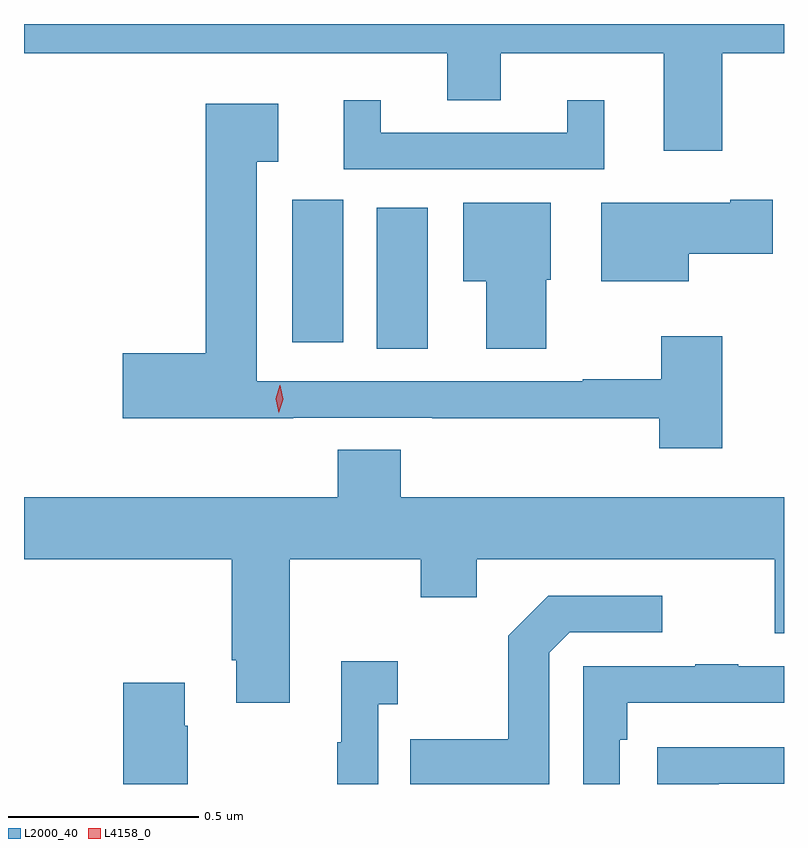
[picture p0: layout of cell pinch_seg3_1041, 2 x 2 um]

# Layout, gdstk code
import gdstk
lib = gdstk.Library(unit=1e-6, precision=1e-09)
def R(c, l, rs):  # rectangles x0, y0, x1, y1
    for r in rs: c.add(gdstk.rectangle(r[:2], r[2:], *l))
def P(c, l, *ps):  # polygons
    for p in ps: c.add(gdstk.Polygon(p, *l))
L2000_40 = (2000, 40)
L4158_0 = (4158, 0)

pinch_seg3_1041 = lib.new_cell('pinch_seg3_1041')
R(pinch_seg3_1041, L2000_40, [(616.016,669.502,616.15,669.874), (615.794,669.519,615.928,669.894)])
P(pinch_seg3_1041, L2000_40, [(616.925,670.28),(617.088,670.28),(617.088,670.357),(615.088,670.357),(615.088,670.28),(616.202,670.28),(616.202,670.156),(616.342,670.156),(616.342,670.28),(616.772,670.28),(616.772,670.023),(616.925,670.023)],
  [(616.615,670.156),(616.517,670.156),(616.517,670.071),(616.027,670.071),(616.027,670.156),(615.929,670.156),(615.929,669.975),(616.615,669.975)],
  [(616.925,669.535),(616.765,669.535),(616.765,669.422),(616.558,669.422),(616.558,669.417),(615.7,669.417),(615.7,669.995),(615.757,669.995),(615.757,670.147),(615.566,670.147),(615.566,669.491),(615.348,669.491),(615.348,669.32),(615.796,669.32),(615.796,669.321),(616.162,669.321),(616.162,669.32),(616.76,669.32),(616.76,669.24),(616.925,669.24)],
  [(616.837,669.752),(617.059,669.752),(617.059,669.894),(616.946,669.894),(616.946,669.886),(616.607,669.886),(616.607,669.68),(616.837,669.68)],
  [(616.462,669.684),(616.474,669.684),(616.474,669.886),(616.244,669.886),(616.244,669.68),(616.304,669.68),(616.304,669.502),(616.462,669.502)],
  [(616.079,669.236),(615.914,669.236),(615.914,669.112),(615.088,669.112),(615.088,668.948),(615.635,668.948),(615.635,668.683),(615.647,668.683),(615.647,668.571),(615.787,668.571),(615.787,668.948),(616.132,668.948),(616.132,668.849),(616.279,668.849),(616.279,668.948),(617.063,668.948),(617.063,668.754),(617.088,668.754),(617.088,669.112),(616.079,669.112)],
  [(616.47,668.703),(616.524,668.757),(616.768,668.757),(616.768,668.853),(616.467,668.853),(616.362,668.747),(616.362,668.475),(616.105,668.475),(616.105,668.357),(616.47,668.357)],
  [(616.02,668.567),(616.072,668.567),(616.072,668.68),(615.923,668.68),(615.923,668.467),(615.912,668.467),(615.912,668.357),(616.02,668.357)],
  [(616.656,668.474),(616.676,668.474),(616.676,668.571),(617.088,668.571),(617.088,668.667),(616.967,668.667),(616.967,668.672),(616.855,668.672),(616.855,668.667),(616.56,668.667),(616.56,668.357),(616.656,668.357)],
  [(615.519,668.51),(615.511,668.51),(615.511,668.623),(615.349,668.623),(615.349,668.357),(615.519,668.357)],
  [(616.916,668.358),(617.088,668.358),(617.088,668.454),(616.755,668.454),(616.755,668.357),(616.916,668.357)])
P(pinch_seg3_1041, L4158_0, [(615.758,669.334),(615.758,669.334),(615.75,669.371),(615.761,669.406),(615.761,669.406),(615.762,669.406),(615.77,669.37),(615.758,669.334)])

lib.write_gds('pinch_seg3_1041.gds')
